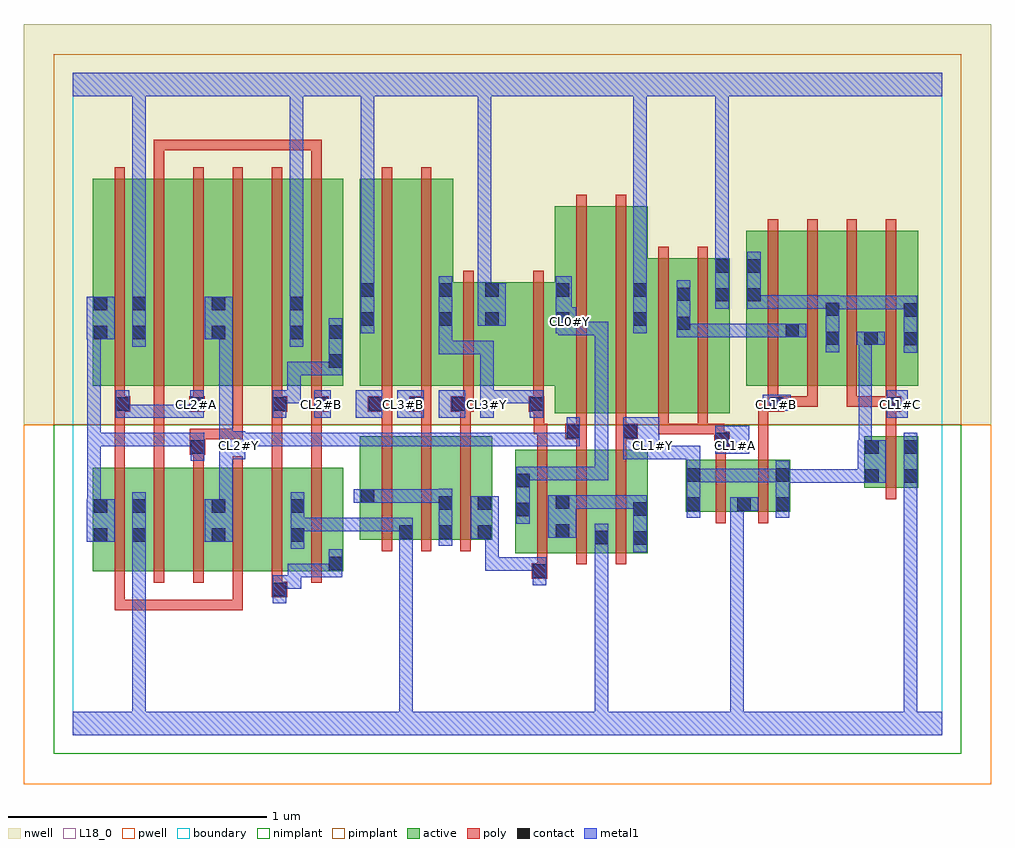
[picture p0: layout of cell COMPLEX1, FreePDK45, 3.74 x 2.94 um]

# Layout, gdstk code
import gdstk
lib = gdstk.Library(unit=1e-6, precision=1e-09)
def R(c, l, rs):  # rectangles x0, y0, x1, y1
    for r in rs: c.add(gdstk.rectangle(r[:2], r[2:], *l))
def A(c, l, x, y, w, h, nx, ny, dx, dy):  # array of equal rectangles
    R(c, l, [(x+i*dx, y+j*dy, x+i*dx+w, y+j*dy+h) for i in range(nx) for j in range(ny)])
active = (1, 0)
pwell = (2, 0)
nwell = (3, 0)
nimplant = (4, 0)
pimplant = (5, 0)
poly = (9, 0)
contact = (10, 0)
metal1 = (11, 0)
L18_0 = (18, 0)
boundary = (235, 0)

complex1 = lib.new_cell('COMPLEX1')
R(complex1, active, [(0.078,0.634,0.138,1.034), (0.078,0.634,0.286,1.034), (0.226,0.634,0.286,0.916), (0.226,0.634,0.41,1.034), (0.41,0.634,0.594,1.034), (0.534,0.634,0.594,1.034), (0.534,0.634,0.714,1.034), (0.714,0.634,0.898,1.034), (0.838,0.634,1.046,1.034), (0.838,0.634,0.898,0.916), (0.986,0.634,1.046,0.694), (1.71,0.704,1.77,1.104), (1.71,0.704,1.922,1.104), (1.862,0.704,2.074,1.104), (2.014,0.704,2.222,1.104), (2.014,0.704,2.074,0.794), (2.162,0.704,2.222,1.104), (1.862,0.752,1.922,0.932), (1.11,0.756,1.17,1.156), (1.11,0.756,1.318,1.156), (1.258,0.756,1.318,0.816), (1.258,0.756,1.47,1.156), (1.41,0.756,1.622,1.156), (1.41,0.756,1.47,0.928), (1.562,0.756,1.622,1.156), (2.368,0.864,2.428,1.064), (2.368,0.864,2.624,1.064), (2.564,0.864,2.772,1.064), (2.564,0.864,2.624,0.924), (2.712,0.864,2.772,1.064), (3.058,0.956,3.118,1.156), (3.058,0.956,3.266,1.156), (3.206,0.956,3.266,1.156), (1.862,1.244,2.042,2.044), (2.042,1.244,2.222,2.044), (2.162,1.244,2.222,1.844), (2.162,1.244,2.39,1.844), (2.33,1.244,2.538,1.844), (2.33,1.244,2.39,1.844), (2.478,1.244,2.538,1.844), (0.078,1.35,0.138,2.044), (0.078,1.35,0.286,2.15), (0.226,1.35,0.286,2.044), (0.226,1.35,0.41,2.15), (0.41,1.35,0.594,2.15), (0.534,1.35,0.714,2.15), (0.534,1.35,0.594,2.044), (0.714,1.35,0.894,2.15), (0.834,1.35,0.894,2.044), (0.834,1.35,1.046,2.15), (0.986,1.35,1.046,2.044), (1.11,1.35,1.29,2.15), (1.11,1.35,1.17,2.044), (1.29,1.35,1.47,2.15), (1.41,1.35,1.47,1.75), (1.41,1.35,1.65,1.75), (1.59,1.35,1.65,1.75), (1.59,1.35,1.922,1.75), (1.862,1.35,1.922,2.044), (2.602,1.35,2.662,1.844), (2.602,1.35,2.81,1.95), (2.75,1.35,2.81,1.844), (2.75,1.35,2.966,1.95), (2.906,1.35,2.966,1.844), (2.906,1.35,3.114,1.95), (3.054,1.35,3.114,1.844), (3.054,1.35,3.266,1.95), (3.206,1.35,3.266,1.844)])
R(complex1, pwell, [(-0.188,-0.188,3.548,1.2)])
R(complex1, nwell, [(-0.188,1.2,3.548,2.748)])
R(complex1, nimplant, [(-0.072,-0.072,3.432,1.2)])
R(complex1, pimplant, [(-0.072,1.2,3.432,2.632)])
A(complex1, poly, 0.162, 0.59, 0.04, 0.488, 6, 1, 0.152, 0)
A(complex1, poly, 1.794, 0.66, 0.04, 0.488, 3, 1, 0.152, 0)
A(complex1, poly, 1.194, 0.712, 0.04, 0.488, 3, 1, 0.152, 0)
A(complex1, poly, 1.194, 1.16, 0.04, 0.13, 3, 1, 0.152, 0)
A(complex1, poly, 0.162, 1.27, 0.04, 0.076, 3, 1, 0.304, 0)
A(complex1, poly, 2.686, 1.27, 0.04, 0.076, 4, 1, 0.152, 0)
A(complex1, poly, 2.838, 1.27, 0.04, 0.04, 3, 1, 0.152, 0)
A(complex1, poly, 0.162, 1.306, 0.04, 0.888, 6, 1, 0.152, 0)
A(complex1, poly, 2.686, 1.306, 0.04, 0.688, 4, 1, 0.152, 0)
R(complex1, poly, [(0.162,0.484,0.202,0.524), (0.162,0.484,0.202,0.524), (0.162,0.484,0.202,0.524), (0.162,0.484,0.202,0.63), (0.162,0.484,0.384,0.524), (0.344,0.484,0.384,0.524), (0.344,0.484,0.384,0.524), (0.344,0.484,0.384,0.524), (0.344,0.484,0.512,0.524), (0.472,0.484,0.512,0.524), (0.472,0.484,0.658,0.524), (0.618,0.484,0.658,0.524), (0.618,0.484,0.658,0.524), (0.618,0.484,0.658,0.524), (0.618,0.484,0.658,0.63), (0.77,0.534,0.83,0.594), (0.77,0.554,0.81,0.63), (1.774,0.604,1.834,0.664), (1.794,0.624,1.834,0.7), (2.484,0.82,2.524,1.108), (2.648,0.82,2.688,1.108), (3.142,0.912,3.182,1.2), (0.162,1.038,0.202,1.29), (0.314,1.038,0.354,1.224), (0.466,1.038,0.506,1.124), (0.77,1.038,0.81,1.29), (0.922,1.038,0.962,1.29), (2.484,1.068,2.524,1.152), (2.648,1.068,2.688,1.29), (0.452,1.084,0.512,1.184), (1.794,1.108,1.834,1.204), (1.946,1.108,1.986,1.184), (2.098,1.108,2.138,1.184), (2.478,1.112,2.538,1.172), (2.478,1.132,2.518,1.204), (0.472,1.144,0.658,1.184), (0.618,1.144,0.658,1.184), (0.618,1.144,0.658,1.184), (0.618,1.144,0.658,1.184), (0.618,1.144,0.658,1.184), (0.618,1.144,0.658,1.184), (0.618,1.144,0.658,1.346), (1.904,1.144,1.986,1.204), (2.098,1.144,2.184,1.204), (3.142,1.16,3.182,1.29), (1.782,1.164,1.822,1.29), (1.782,1.164,1.834,1.204), (1.946,1.164,1.986,1.24), (1.946,1.164,1.986,1.204), (1.946,1.164,1.986,1.204), (2.098,1.164,2.138,1.24), (2.098,1.164,2.138,1.204), (2.098,1.164,2.138,1.204), (2.262,1.164,2.302,1.24), (2.262,1.164,2.302,1.204), (2.262,1.164,2.302,1.204), (2.262,1.164,2.302,1.204), (2.262,1.164,2.454,1.204), (2.414,1.164,2.454,1.24), (2.414,1.164,2.518,1.204), (0.314,1.184,0.354,1.224), (0.314,1.184,0.354,1.224), (0.314,1.184,0.354,1.224), (0.314,1.184,0.354,1.346), (1.946,1.2,1.986,2.088), (2.098,1.2,2.138,2.088), (2.262,1.2,2.302,1.888), (2.414,1.2,2.454,1.888), (0.162,1.25,0.202,1.29), (0.162,1.25,0.202,1.29), (0.162,1.25,0.222,1.31), (0.45,1.25,0.51,1.31), (0.77,1.25,0.81,1.29), (0.77,1.25,0.81,1.29), (0.77,1.25,0.83,1.31), (0.922,1.25,0.962,1.29), (0.922,1.25,0.962,1.29), (0.922,1.25,0.99,1.31), (1.14,1.25,1.234,1.31), (1.194,1.25,1.234,1.29), (1.194,1.25,1.234,1.29), (1.3,1.25,1.386,1.31), (1.346,1.25,1.386,1.29), (1.346,1.25,1.386,1.29), (1.46,1.25,1.55,1.31), (1.498,1.25,1.538,1.29), (1.498,1.25,1.538,1.29), (1.762,1.25,1.822,1.31), (2.648,1.25,2.726,1.29), (2.686,1.25,2.726,1.29), (2.686,1.25,2.75,1.31), (3.142,1.25,3.202,1.31), (0.922,1.27,0.962,1.346), (1.194,1.27,1.234,1.346), (1.346,1.27,1.386,1.346), (1.51,1.27,1.55,1.346), (1.78,1.27,1.82,1.346), (2.71,1.27,2.878,1.31), (2.838,1.27,2.878,1.31), (2.838,1.27,2.878,1.31), (2.99,1.27,3.182,1.31), (3.142,1.27,3.182,1.31), (3.142,1.27,3.182,1.31), (3.142,1.27,3.182,1.31), (1.194,1.306,1.234,2.194), (1.346,1.306,1.386,2.194), (1.51,1.306,1.55,1.794), (1.78,1.306,1.82,1.794), (0.314,2.154,0.354,2.3), (0.922,2.154,0.962,2.3), (0.314,2.26,0.354,2.3), (0.314,2.26,0.354,2.3), (0.314,2.26,0.354,2.3), (0.314,2.26,0.512,2.3), (0.472,2.26,0.512,2.3), (0.472,2.26,0.512,2.3), (0.472,2.26,0.512,2.3), (0.472,2.26,0.618,2.3), (0.578,2.26,0.618,2.3), (0.578,2.26,0.764,2.3), (0.724,2.26,0.764,2.3), (0.724,2.26,0.764,2.3), (0.724,2.26,0.764,2.3), (0.724,2.26,0.962,2.3), (0.922,2.26,0.962,2.3), (0.922,2.26,0.962,2.3), (0.922,2.26,0.962,2.3)])
A(complex1, contact, 1.262, 0.76, 0.052, 0.052, 3, 1, 0.152, 0)
A(complex1, contact, 1.144, 1.254, 0.052, 0.052, 3, 1, 0.16, 0)
R(complex1, contact, [(0.774,0.538,0.826,0.59), (1.778,0.608,1.83,0.66), (0.99,0.638,1.042,0.69), (2.166,0.736,2.218,0.788), (2.018,0.738,2.07,0.79), (0.082,0.748,0.134,0.8), (0.23,0.748,0.282,0.8), (0.538,0.748,0.59,0.8), (0.842,0.748,0.894,0.8), (1.866,0.764,1.918,0.816), (1.714,0.846,1.766,0.898), (2.166,0.848,2.218,0.9), (0.082,0.86,0.134,0.912), (0.23,0.86,0.282,0.912), (0.538,0.86,0.59,0.912), (0.842,0.86,0.894,0.912), (2.372,0.868,2.424,0.92), (2.568,0.868,2.62,0.92), (2.716,0.868,2.768,0.92), (1.414,0.872,1.466,0.924), (1.566,0.872,1.618,0.924), (1.866,0.876,1.918,0.928), (1.114,0.898,1.166,0.95), (1.714,0.958,1.766,1.01), (3.062,0.976,3.114,1.028), (3.21,0.976,3.262,1.028), (2.372,0.98,2.424,1.032), (2.716,0.98,2.768,1.032), (0.456,1.088,0.508,1.14), (3.062,1.088,3.114,1.14), (3.21,1.088,3.262,1.14), (2.482,1.116,2.534,1.168), (1.908,1.148,1.96,1.2), (2.128,1.148,2.18,1.2), (0.166,1.254,0.218,1.306), (0.454,1.254,0.506,1.306), (0.774,1.254,0.826,1.306), (0.934,1.254,0.986,1.306), (1.766,1.254,1.818,1.306), (2.694,1.254,2.746,1.306), (3.146,1.254,3.198,1.306), (0.99,1.42,1.042,1.472), (3.21,1.506,3.262,1.558), (2.91,1.508,2.962,1.56), (3.058,1.508,3.11,1.56), (0.082,1.53,0.134,1.582), (0.23,1.53,0.282,1.582), (0.538,1.53,0.59,1.582), (0.838,1.53,0.89,1.582), (0.99,1.532,1.042,1.584), (2.754,1.538,2.806,1.59), (2.334,1.566,2.386,1.618), (1.114,1.582,1.166,1.634), (1.414,1.582,1.466,1.634), (1.594,1.582,1.646,1.634), (1.866,1.582,1.918,1.634), (2.166,1.582,2.218,1.634), (3.21,1.618,3.262,1.67), (2.91,1.62,2.962,1.672), (0.082,1.642,0.134,1.694), (0.23,1.642,0.282,1.694), (0.538,1.642,0.59,1.694), (0.838,1.642,0.89,1.694), (2.482,1.676,2.534,1.728), (2.606,1.676,2.658,1.728), (2.334,1.678,2.386,1.73), (1.114,1.694,1.166,1.746), (1.414,1.694,1.466,1.746), (1.594,1.694,1.646,1.746), (1.866,1.694,1.918,1.746), (2.166,1.694,2.218,1.746), (2.482,1.788,2.534,1.84), (2.606,1.788,2.658,1.84)])
A(complex1, metal1, 0.056, 1.116, 0.052, 0.052, 3, 1, 0.11, 0)
A(complex1, metal1, 1.094, 1.226, 0.102, 0.108, 3, 1, 0.16, 0)
R(complex1, metal1, [(0,0,3.36,0.092), (0.23,0.04,0.282,0.772), (1.262,0.04,1.314,0.092), (1.262,0.04,1.314,0.092), (1.262,0.04,1.314,0.092), (1.262,0.04,1.314,0.092), (1.262,0.04,1.314,0.092), (1.262,0.04,1.314,0.092), (1.262,0.04,1.314,0.092), (1.262,0.04,1.314,0.092), (1.262,0.04,1.314,0.092), (1.262,0.04,1.314,0.092), (1.262,0.04,1.314,0.092), (1.262,0.04,1.314,0.092), (1.262,0.04,1.314,0.784), (2.018,0.04,2.07,0.092), (2.018,0.04,2.07,0.092), (2.018,0.04,2.07,0.092), (2.018,0.04,2.07,0.092), (2.018,0.04,2.07,0.092), (2.018,0.04,2.07,0.092), (2.018,0.04,2.07,0.092), (2.018,0.04,2.07,0.092), (2.018,0.04,2.07,0.092), (2.018,0.04,2.07,0.092), (2.018,0.04,2.07,0.092), (2.018,0.04,2.07,0.092), (2.018,0.04,2.07,0.762), (2.54,0.04,2.592,0.092), (2.54,0.04,2.592,0.092), (2.54,0.04,2.592,0.092), (2.54,0.04,2.592,0.092), (2.54,0.04,2.592,0.092), (2.54,0.04,2.592,0.092), (2.54,0.04,2.592,0.092), (2.54,0.04,2.592,0.092), (2.54,0.04,2.592,0.092), (2.54,0.04,2.592,0.092), (2.54,0.04,2.592,0.092), (2.54,0.04,2.592,0.092), (2.54,0.04,2.592,0.92), (3.21,0.04,3.262,1), (0.774,0.51,0.826,0.618), (0.774,0.566,0.884,0.618), (0.832,0.566,0.884,0.618), (0.832,0.566,0.884,0.662), (1.778,0.58,1.83,0.688), (0.832,0.61,0.884,0.662), (0.832,0.61,1.028,0.662), (0.976,0.61,1.028,0.662), (0.976,0.61,1.042,0.662), (0.99,0.61,1.042,0.718), (1.594,0.636,1.646,0.688), (1.594,0.636,1.646,0.688), (1.594,0.636,1.646,0.688), (1.594,0.636,1.83,0.688), (1.594,0.636,1.646,0.812), (2.166,0.708,2.218,0.928), (2.018,0.71,2.07,0.818), (0.23,0.72,0.282,0.772), (0.23,0.72,0.282,0.772), (0.23,0.72,0.282,0.772), (0.23,0.72,0.282,0.772), (0.23,0.72,0.282,0.772), (0.23,0.72,0.282,0.772), (0.23,0.72,0.282,0.772), (0.23,0.72,0.282,0.772), (0.23,0.72,0.282,0.772), (0.23,0.72,0.282,0.772), (0.23,0.72,0.282,0.772), (0.23,0.72,0.282,0.772), (0.23,0.72,0.282,0.94), (0.842,0.72,0.894,0.94), (1.262,0.732,1.314,0.84), (1.414,0.732,1.466,0.952), (0.054,0.748,0.162,0.912), (0.51,0.748,0.618,0.912), (1.538,0.76,1.646,0.924), (1.838,0.764,1.946,0.928), (0.842,0.788,1.028,0.84), (0.976,0.788,1.028,0.84), (0.976,0.788,1.028,0.84), (0.976,0.788,1.028,0.84), (0.976,0.788,1.194,0.84), (1.142,0.788,1.194,0.84), (1.142,0.788,1.194,0.84), (1.142,0.788,1.194,0.84), (1.142,0.788,1.314,0.84), (1.262,0.788,1.314,0.84), (1.262,0.788,1.314,0.84), (1.714,0.818,1.766,1.038), (2.372,0.84,2.424,1.06), (2.716,0.84,2.768,1.06), (0.056,0.86,0.108,1.168), (0.566,0.86,0.618,1.118), (2.54,0.868,2.592,0.92), (2.54,0.868,2.592,0.92), (2.54,0.868,2.592,0.92), (2.54,0.868,2.592,0.92), (2.54,0.868,2.648,0.92), (1.894,0.876,1.946,0.928), (1.894,0.876,1.946,0.928), (1.894,0.876,2.07,0.928), (2.018,0.876,2.07,0.928), (2.018,0.876,2.218,0.928), (2.166,0.876,2.218,0.928), (2.166,0.876,2.218,0.928), (1.086,0.898,1.194,0.95), (1.142,0.898,1.194,0.95), (1.142,0.898,1.194,0.95), (1.142,0.898,1.304,0.95), (1.252,0.898,1.304,0.95), (1.252,0.898,1.304,0.95), (1.252,0.898,1.304,0.95), (1.252,0.898,1.466,0.95), (3.21,0.948,3.262,1), (3.21,0.948,3.262,1), (3.21,0.948,3.262,1), (3.21,0.948,3.262,1), (3.21,0.948,3.262,1), (3.21,0.948,3.262,1), (3.21,0.948,3.262,1), (3.21,0.948,3.262,1), (3.21,0.948,3.262,1), (3.21,0.948,3.262,1), (3.21,0.948,3.262,1), (3.21,0.948,3.262,1), (3.21,0.948,3.262,1), (3.21,0.948,3.262,1), (3.21,0.948,3.262,1), (3.21,0.948,3.262,1), (3.21,0.948,3.262,1.168), (2.716,0.976,2.972,1.028), (2.92,0.976,2.972,1.028), (2.92,0.976,2.972,1.028), (2.92,0.976,2.972,1.028), (2.92,0.976,3.086,1.028), (3.034,0.976,3.086,1.028), (3.034,0.976,3.086,1.028), (3.034,0.976,3.142,1.14), (2.372,0.978,2.534,1.03), (2.482,0.978,2.534,1.03), (2.482,0.978,2.534,1.03), (2.482,0.978,2.534,1.03), (2.482,0.978,2.644,1.03), (2.592,0.978,2.644,1.03), (2.592,0.978,2.742,1.03), (2.69,0.978,2.742,1.03), (2.69,0.978,2.768,1.03), (1.714,0.986,1.836,1.038), (1.784,0.986,1.836,1.038), (1.784,0.986,1.96,1.038), (1.908,0.986,1.96,1.038), (1.908,0.986,2.07,1.038), (2.018,0.986,2.07,1.038), (2.018,0.986,2.07,1.038), (2.018,0.986,2.07,1.038), (2.018,0.986,2.07,1.038), (2.018,0.986,2.07,1.038), (2.018,0.986,2.07,1.598), (2.372,1.008,2.424,1.118), (0.456,1.06,0.508,1.168), (0.566,1.066,0.666,1.174), (2.128,1.066,2.266,1.228), (2.214,1.066,2.266,1.118), (2.214,1.066,2.266,1.118), (2.214,1.066,2.424,1.118), (2.372,1.066,2.424,1.118), (2.372,1.066,2.424,1.118), (2.372,1.066,2.424,1.118), (2.482,1.088,2.614,1.196), (3.036,1.088,3.088,1.14), (3.036,1.088,3.088,1.14), (3.036,1.088,3.088,1.56), (0.056,1.116,0.108,1.168), (0.056,1.116,0.108,1.168), (0.056,1.116,0.108,1.168), (0.056,1.116,0.108,1.168), (0.056,1.116,0.218,1.168), (0.056,1.116,0.108,1.582), (0.166,1.116,0.328,1.168), (0.276,1.116,0.328,1.168), (0.276,1.116,0.328,1.168), (0.276,1.116,0.508,1.168), (0.614,1.116,0.666,1.168), (0.614,1.116,0.666,1.168), (0.614,1.116,0.774,1.168), (0.722,1.116,0.774,1.168), (0.722,1.116,0.776,1.168), (0.724,1.116,0.776,1.168), (0.724,1.116,0.884,1.168), (0.832,1.116,0.884,1.168), (0.832,1.116,1.028,1.168), (0.976,1.116,1.028,1.168), (0.976,1.116,1.028,1.168), (0.976,1.116,1.028,1.168), (0.976,1.116,1.194,1.168), (1.142,1.116,1.194,1.168), (1.142,1.116,1.194,1.168), (1.142,1.116,1.194,1.168), (1.142,1.116,1.356,1.168), (1.304,1.116,1.356,1.168), (1.304,1.116,1.356,1.168), (1.304,1.116,1.356,1.168), (1.304,1.116,1.48,1.168), (1.428,1.116,1.48,1.168), (1.428,1.116,1.48,1.168), (1.428,1.116,1.48,1.168), (1.428,1.116,1.59,1.168), (1.538,1.116,1.59,1.168), (1.538,1.116,1.756,1.168), (1.704,1.116,1.756,1.168), (1.704,1.116,1.756,1.168), (1.704,1.116,1.756,1.168), (1.704,1.116,1.96,1.168), (1.908,1.116,1.96,1.172), (1.908,1.12,1.96,1.172), (1.908,1.12,1.96,1.228), (0.566,1.122,0.618,1.174), (0.566,1.122,0.618,1.174), (0.566,1.122,0.618,1.582), (0.166,1.226,0.218,1.278), (0.166,1.226,0.218,1.278), (0.166,1.226,0.328,1.278), (0.166,1.226,0.218,1.334), (0.276,1.226,0.328,1.278), (0.276,1.226,0.328,1.278), (0.276,1.226,0.328,1.278), (0.276,1.226,0.506,1.278), (0.454,1.226,0.506,1.334), (0.774,1.226,0.826,1.334), (0.934,1.226,0.998,1.334), (1.574,1.226,1.626,1.334), (1.766,1.226,1.818,1.334), (3.146,1.226,3.226,1.334), (2.666,1.254,2.774,1.316), (0.774,1.282,0.882,1.334), (0.83,1.282,0.882,1.334), (0.83,1.282,0.882,1.444), (1.574,1.282,1.626,1.334), (1.574,1.282,1.626,1.334), (1.574,1.282,1.818,1.334), (1.574,1.282,1.626,1.524), (0.83,1.392,0.882,1.444), (0.83,1.392,1.028,1.444), (0.976,1.392,1.028,1.444), (0.976,1.392,1.042,1.444), (0.99,1.392,1.042,1.612), (1.414,1.472,1.626,1.524), (1.414,1.472,1.466,1.606), (1.574,1.472,1.626,1.524), (3.21,1.478,3.262,1.698), (2.91,1.48,2.962,1.7), (0.23,1.502,0.282,1.722), (0.838,1.502,0.89,1.722), (3.03,1.508,3.138,1.56), (3.036,1.508,3.088,1.56), (3.036,1.508,3.088,1.56), (0.054,1.53,0.162,1.694), (0.51,1.53,0.618,1.694), (2.334,1.538,2.386,1.758), (2.334,1.538,2.534,1.59), (2.482,1.538,2.534,1.59), (2.482,1.538,2.534,1.59), (2.482,1.538,2.534,1.59), (2.482,1.538,2.644,1.59), (2.592,1.538,2.644,1.59), (2.592,1.538,2.644,1.59), (2.592,1.538,2.644,1.59), (2.592,1.538,2.778,1.59), (2.726,1.538,2.834,1.59), (1.876,1.546,1.946,1.654), (1.894,1.546,1.946,1.598), (1.894,1.546,1.946,1.598), (1.894,1.546,2.07,1.598), (2.018,1.546,2.07,1.598), (1.114,1.554,1.166,1.774), (1.414,1.554,1.466,1.606), (1.414,1.554,1.466,1.774), (1.866,1.554,1.928,1.774), (1.876,1.554,1.928,1.606), (2.166,1.554,2.218,1.774), (1.566,1.582,1.674,1.746), (2.91,1.646,3.082,1.698), (3.03,1.646,3.082,1.698), (3.03,1.646,3.082,1.698), (3.03,1.646,3.082,1.698), (3.03,1.646,3.262,1.698), (3.21,1.646,3.262,1.698), (3.21,1.646,3.262,1.698), (2.482,1.648,2.534,1.868), (2.606,1.648,2.658,1.7), (2.606,1.648,2.658,1.7), (2.606,1.648,2.658,1.868), (2.606,1.648,2.852,1.7), (2.8,1.648,2.852,1.7), (2.8,1.648,2.852,1.7), (2.8,1.648,2.852,1.7), (2.8,1.648,2.962,1.7), (0.23,1.67,0.282,1.722), (0.23,1.67,0.282,1.722), (0.23,1.67,0.282,1.722), (0.23,1.67,0.282,1.722), (0.23,1.67,0.282,1.722), (0.23,1.67,0.282,1.722), (0.23,1.67,0.282,1.722), (0.23,1.67,0.282,1.722), (0.23,1.67,0.282,2.52), (0.838,1.67,0.89,1.722), (0.838,1.67,0.89,1.722), (0.838,1.67,0.89,1.722), (0.838,1.67,0.89,1.722), (0.838,1.67,0.89,1.722), (0.838,1.67,0.89,1.722), (0.838,1.67,0.89,1.722), (0.838,1.67,0.89,1.722), (0.838,1.67,0.89,2.52), (1.566,1.694,1.618,2.52), (1.114,1.722,1.166,1.774), (1.114,1.722,1.166,1.774), (1.114,1.722,1.166,2.52), (2.166,1.722,2.218,1.774), (2.166,1.722,2.218,1.774), (2.166,1.722,2.218,1.774), (2.166,1.722,2.218,1.774), (2.166,1.722,2.218,2.52), (2.482,1.816,2.534,1.868), (2.482,1.816,2.534,1.868), (2.482,1.816,2.534,1.868), (2.482,1.816,2.534,1.868), (2.482,1.816,2.534,2.52), (0,2.468,3.36,2.56), (1.114,2.468,1.166,2.52), (1.114,2.468,1.166,2.52), (1.114,2.468,1.166,2.52), (1.114,2.468,1.166,2.52), (1.114,2.468,1.166,2.52), (1.114,2.468,1.166,2.52), (1.566,2.468,1.618,2.52), (1.566,2.468,1.618,2.52), (1.566,2.468,1.618,2.52), (1.566,2.468,1.618,2.52), (1.566,2.468,1.618,2.52), (1.566,2.468,1.618,2.52), (1.566,2.468,1.618,2.52), (1.566,2.468,1.618,2.52), (1.566,2.468,1.618,2.52), (1.566,2.468,1.618,2.52), (1.566,2.468,1.618,2.52), (1.566,2.468,1.618,2.52), (1.566,2.468,1.618,2.52), (1.566,2.468,1.618,2.52), (1.566,2.468,1.618,2.52), (1.566,2.468,1.618,2.52), (2.166,2.468,2.218,2.52), (2.166,2.468,2.218,2.52), (2.166,2.468,2.218,2.52), (2.166,2.468,2.218,2.52), (2.482,2.468,2.534,2.52), (2.482,2.468,2.534,2.52), (2.482,2.468,2.534,2.52), (2.482,2.468,2.534,2.52), (2.482,2.468,2.534,2.52), (2.482,2.468,2.534,2.52), (2.482,2.468,2.534,2.52), (2.482,2.468,2.534,2.52)])
A(complex1, L18_0, 1.094, 1.226, 0.102, 0.108, 3, 1, 0.16, 0)
A(complex1, L18_0, 0.934, 1.254, 0.052, 0.052, 5, 1, 0.16, 0)
R(complex1, L18_0, [(0,0,3.36,0.092), (0.23,0.04,0.282,0.772), (1.262,0.04,1.314,0.092), (1.262,0.04,1.314,0.092), (1.262,0.04,1.314,0.092), (1.262,0.04,1.314,0.092), (1.262,0.04,1.314,0.092), (1.262,0.04,1.314,0.092), (1.262,0.04,1.314,0.092), (1.262,0.04,1.314,0.092), (1.262,0.04,1.314,0.092), (1.262,0.04,1.314,0.092), (1.262,0.04,1.314,0.092), (1.262,0.04,1.314,0.092), (1.262,0.04,1.314,0.784), (2.018,0.04,2.07,0.092), (2.018,0.04,2.07,0.092), (2.018,0.04,2.07,0.092), (2.018,0.04,2.07,0.092), (2.018,0.04,2.07,0.092), (2.018,0.04,2.07,0.092), (2.018,0.04,2.07,0.092), (2.018,0.04,2.07,0.092), (2.018,0.04,2.07,0.092), (2.018,0.04,2.07,0.092), (2.018,0.04,2.07,0.092), (2.018,0.04,2.07,0.092), (2.018,0.04,2.07,0.762), (2.54,0.04,2.592,0.092), (2.54,0.04,2.592,0.092), (2.54,0.04,2.592,0.092), (2.54,0.04,2.592,0.092), (2.54,0.04,2.592,0.092), (2.54,0.04,2.592,0.092), (2.54,0.04,2.592,0.092), (2.54,0.04,2.592,0.092), (2.54,0.04,2.592,0.092), (2.54,0.04,2.592,0.092), (2.54,0.04,2.592,0.092), (2.54,0.04,2.592,0.092), (2.54,0.04,2.592,0.92), (3.21,0.04,3.262,1), (1.778,0.58,1.83,0.688), (1.594,0.636,1.646,0.688), (1.594,0.636,1.646,0.688), (1.594,0.636,1.646,0.688), (1.594,0.636,1.646,0.812), (1.594,0.636,1.83,0.688), (2.018,0.71,2.07,0.818), (0.23,0.72,0.282,0.772), (0.23,0.72,0.282,0.772), (0.23,0.72,0.282,0.772), (0.23,0.72,0.282,0.772), (0.23,0.72,0.282,0.772), (0.23,0.72,0.282,0.772), (0.23,0.72,0.282,0.772), (0.23,0.72,0.282,0.772), (0.23,0.72,0.282,0.772), (0.23,0.72,0.282,0.772), (0.23,0.72,0.282,0.772), (0.23,0.72,0.282,0.772), (0.23,0.72,0.282,0.94), (0.842,0.72,0.894,0.94), (1.262,0.732,1.314,0.84), (0.51,0.748,0.618,0.912), (1.538,0.76,1.646,0.924), (0.842,0.788,1.028,0.84), (0.976,0.788,1.028,0.84), (0.976,0.788,1.028,0.84), (0.976,0.788,1.028,0.84), (0.976,0.788,1.194,0.84), (1.142,0.788,1.194,0.84), (1.142,0.788,1.194,0.84), (1.142,0.788,1.194,0.84), (1.142,0.788,1.314,0.84), (1.262,0.788,1.314,0.84), (1.262,0.788,1.314,0.84), (1.714,0.818,1.766,1.038), (2.372,0.84,2.424,1.06), (2.716,0.84,2.768,1.06), (0.566,0.86,0.618,1.118), (2.54,0.868,2.592,0.92), (2.54,0.868,2.592,0.92), (2.54,0.868,2.592,0.92), (2.54,0.868,2.592,0.92), (2.54,0.868,2.648,0.92), (3.21,0.948,3.262,1), (3.21,0.948,3.262,1), (3.21,0.948,3.262,1), (3.21,0.948,3.262,1), (3.21,0.948,3.262,1), (3.21,0.948,3.262,1), (3.21,0.948,3.262,1), (3.21,0.948,3.262,1), (3.21,0.948,3.262,1), (3.21,0.948,3.262,1), (3.21,0.948,3.262,1), (3.21,0.948,3.262,1), (3.21,0.948,3.262,1), (3.21,0.948,3.262,1), (3.21,0.948,3.262,1), (3.21,0.948,3.262,1), (3.21,0.948,3.262,1.168), (2.716,0.976,2.972,1.028), (2.92,0.976,2.972,1.028), (2.92,0.976,2.972,1.028), (2.92,0.976,2.972,1.028), (2.92,0.976,3.086,1.028), (3.034,0.976,3.086,1.028), (3.034,0.976,3.086,1.028), (3.034,0.976,3.142,1.14), (2.372,0.978,2.534,1.03), (2.482,0.978,2.534,1.03), (2.482,0.978,2.534,1.03), (2.482,0.978,2.534,1.03), (2.482,0.978,2.644,1.03), (2.592,0.978,2.644,1.03), (2.592,0.978,2.742,1.03), (2.69,0.978,2.742,1.03), (2.69,0.978,2.768,1.03), (1.714,0.986,1.836,1.038), (1.784,0.986,1.836,1.038), (1.784,0.986,1.96,1.038), (1.908,0.986,1.96,1.038), (1.908,0.986,2.07,1.038), (2.018,0.986,2.07,1.038), (2.018,0.986,2.07,1.038), (2.018,0.986,2.07,1.038), (2.018,0.986,2.07,1.038), (2.018,0.986,2.07,1.038), (2.018,0.986,2.07,1.598), (2.372,1.008,2.424,1.118), (0.566,1.066,0.666,1.174), (2.128,1.066,2.266,1.228), (2.214,1.066,2.266,1.118), (2.214,1.066,2.266,1.118), (2.214,1.066,2.424,1.118), (2.372,1.066,2.424,1.118), (2.372,1.066,2.424,1.118), (2.372,1.066,2.424,1.118), (2.482,1.088,2.614,1.196), (3.036,1.088,3.088,1.14), (3.036,1.088,3.088,1.14), (3.036,1.088,3.088,1.56), (0.614,1.094,0.666,1.146), (2.214,1.094,2.266,1.146), (2.534,1.094,2.586,1.146), (0.614,1.116,0.666,1.168), (0.614,1.116,0.666,1.168), (0.614,1.116,0.774,1.168), (0.722,1.116,0.774,1.168), (0.722,1.116,0.776,1.168), (0.724,1.116,0.776,1.168), (0.724,1.116,0.884,1.168), (0.832,1.116,0.884,1.168), (0.832,1.116,1.028,1.168), (0.976,1.116,1.028,1.168), (0.976,1.116,1.028,1.168), (0.976,1.116,1.028,1.168), (0.976,1.116,1.194,1.168), (1.142,1.116,1.194,1.168), (1.142,1.116,1.194,1.168), (1.142,1.116,1.194,1.168), (1.142,1.116,1.356,1.168), (1.304,1.116,1.356,1.168), (1.304,1.116,1.356,1.168), (1.304,1.116,1.356,1.168), (1.304,1.116,1.48,1.168), (1.428,1.116,1.48,1.168), (1.428,1.116,1.48,1.168), (1.428,1.116,1.48,1.168), (1.428,1.116,1.59,1.168), (1.538,1.116,1.59,1.168), (1.538,1.116,1.756,1.168), (1.704,1.116,1.756,1.168), (1.704,1.116,1.756,1.168), (1.704,1.116,1.756,1.168), (1.704,1.116,1.96,1.168), (1.908,1.116,1.96,1.172), (1.908,1.12,1.96,1.228), (1.908,1.12,1.96,1.172), (0.566,1.122,0.618,1.174), (0.566,1.122,0.618,1.174), (0.566,1.122,0.618,1.582), (0.166,1.226,0.218,1.334), (0.166,1.226,0.218,1.278), (0.166,1.226,0.218,1.278), (0.166,1.226,0.328,1.278), (0.276,1.226,0.328,1.278), (0.276,1.226,0.328,1.278), (0.276,1.226,0.328,1.278), (0.276,1.226,0.506,1.278), (0.454,1.226,0.506,1.334), (0.934,1.226,0.998,1.334), (1.574,1.226,1.626,1.334), (1.766,1.226,1.818,1.334), (3.146,1.226,3.226,1.334), (0.454,1.254,0.506,1.306), (2.666,1.254,2.774,1.316), (2.694,1.254,2.746,1.306), (3.174,1.254,3.226,1.306), (1.574,1.282,1.626,1.334), (1.574,1.282,1.626,1.334), (1.574,1.282,1.626,1.524), (1.574,1.282,1.818,1.334), (1.414,1.472,1.466,1.606), (1.414,1.472,1.626,1.524), (1.574,1.472,1.626,1.524), (0.23,1.502,0.282,1.722), (0.838,1.502,0.89,1.722), (3.03,1.508,3.138,1.56), (3.036,1.508,3.088,1.56), (3.036,1.508,3.088,1.56), (0.51,1.53,0.618,1.694), (1.876,1.546,1.946,1.654), (1.894,1.546,1.946,1.598), (1.894,1.546,1.946,1.598), (1.894,1.546,2.07,1.598), (2.018,1.546,2.07,1.598), (1.114,1.554,1.166,1.774), (1.414,1.554,1.466,1.606), (1.414,1.554,1.466,1.774), (1.866,1.554,1.928,1.774), (1.876,1.554,1.928,1.606), (2.166,1.554,2.218,1.774), (1.894,1.574,1.946,1.626), (1.566,1.582,1.674,1.746), (2.482,1.648,2.534,1.868), (0.23,1.67,0.282,1.722), (0.23,1.67,0.282,1.722), (0.23,1.67,0.282,1.722), (0.23,1.67,0.282,1.722), (0.23,1.67,0.282,1.722), (0.23,1.67,0.282,1.722), (0.23,1.67,0.282,1.722), (0.23,1.67,0.282,1.722), (0.23,1.67,0.282,2.52), (0.838,1.67,0.89,1.722), (0.838,1.67,0.89,1.722), (0.838,1.67,0.89,1.722), (0.838,1.67,0.89,1.722), (0.838,1.67,0.89,1.722), (0.838,1.67,0.89,1.722), (0.838,1.67,0.89,1.722), (0.838,1.67,0.89,1.722), (0.838,1.67,0.89,2.52), (1.566,1.694,1.618,2.52), (1.114,1.722,1.166,1.774), (1.114,1.722,1.166,1.774), (1.114,1.722,1.166,2.52), (2.166,1.722,2.218,1.774), (2.166,1.722,2.218,1.774), (2.166,1.722,2.218,1.774), (2.166,1.722,2.218,1.774), (2.166,1.722,2.218,2.52), (2.482,1.816,2.534,1.868), (2.482,1.816,2.534,1.868), (2.482,1.816,2.534,1.868), (2.482,1.816,2.534,1.868), (2.482,1.816,2.534,2.52), (0,2.468,3.36,2.56), (1.114,2.468,1.166,2.52), (1.114,2.468,1.166,2.52), (1.114,2.468,1.166,2.52), (1.114,2.468,1.166,2.52), (1.114,2.468,1.166,2.52), (1.114,2.468,1.166,2.52), (1.566,2.468,1.618,2.52), (1.566,2.468,1.618,2.52), (1.566,2.468,1.618,2.52), (1.566,2.468,1.618,2.52), (1.566,2.468,1.618,2.52), (1.566,2.468,1.618,2.52), (1.566,2.468,1.618,2.52), (1.566,2.468,1.618,2.52), (1.566,2.468,1.618,2.52), (1.566,2.468,1.618,2.52), (1.566,2.468,1.618,2.52), (1.566,2.468,1.618,2.52), (1.566,2.468,1.618,2.52), (1.566,2.468,1.618,2.52), (1.566,2.468,1.618,2.52), (1.566,2.468,1.618,2.52), (2.166,2.468,2.218,2.52), (2.166,2.468,2.218,2.52), (2.166,2.468,2.218,2.52), (2.166,2.468,2.218,2.52), (2.482,2.468,2.534,2.52), (2.482,2.468,2.534,2.52), (2.482,2.468,2.534,2.52), (2.482,2.468,2.534,2.52), (2.482,2.468,2.534,2.52), (2.482,2.468,2.534,2.52), (2.482,2.468,2.534,2.52), (2.482,2.468,2.534,2.52)])
R(complex1, boundary, [(0,0,3.36,2.56)])
complex1.add(gdstk.Label('CL0#Y', (1.92,1.6), layer=11, texttype=0))
complex1.add(gdstk.Label('CL1#A', (2.56,1.12), layer=11, texttype=0))
complex1.add(gdstk.Label('CL1#B', (2.72,1.28), layer=11, texttype=0))
complex1.add(gdstk.Label('CL1#C', (3.2,1.28), layer=11, texttype=0))
complex1.add(gdstk.Label('CL1#Y', (2.24,1.12), layer=11, texttype=0))
complex1.add(gdstk.Label('CL2#A', (0.48,1.28), layer=11, texttype=0))
complex1.add(gdstk.Label('CL2#B', (0.96,1.28), layer=11, texttype=0))
complex1.add(gdstk.Label('CL2#Y', (0.64,1.12), layer=11, texttype=0))
complex1.add(gdstk.Label('CL3#A', (1.12,1.28), layer=11, texttype=0))
complex1.add(gdstk.Label('CL3#B', (1.28,1.28), layer=11, texttype=0))
complex1.add(gdstk.Label('CL3#C', (1.44,1.28), layer=11, texttype=0))
complex1.add(gdstk.Label('CL3#Y', (1.6,1.28), layer=11, texttype=0))

lib.write_gds('COMPLEX1.gds')
